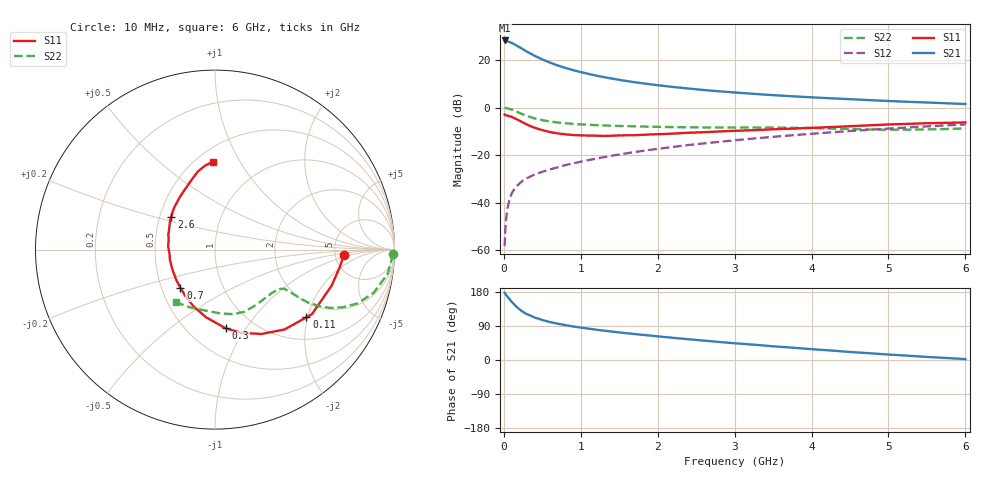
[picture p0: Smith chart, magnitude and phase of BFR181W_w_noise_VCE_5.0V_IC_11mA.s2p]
! Infineon Technologies  Discrete & RF Semiconductors
! BFR181W
! VCE =  5.0 V,  IC =  11 mA
! Common Emitter S-Parameters:  Jan 2017
# GHz  S  MA  R  50
!  f  S11  S21  S12  S22
! GHz  MAG  ANG  MAG  ANG  MAG  ANG  MAG  ANG
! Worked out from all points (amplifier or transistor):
!   77 points, 10 MHz to 6 GHz, reference 50 ohm
!   highest |S21| = 28.4 dB at 10 MHz (marker M1)
!   |S21| within 3 dB of that: start of sweep to 210.2 MHz
!   unconditionally stable (mu >= 1): 961.3 MHz to 2.922 GHz
!   at 130 MHz: K = 0.29, MSG = 30.8 dB, |S12| = -34.7 dB
!   at 2.2 GHz: K = 1.05, MAG = 11.3 dB, |S12| = -16.5 dB
!   at 6 GHz: K = 0.85, MSG = 4.3 dB, |S12| = -7.0 dB
!   lowest NFmin = 1.29 dB at 450 MHz
!   S11 on the Smith chart (normalised r, x): 10 MHz: 5.99, -0.81; 110 MHz: 1.56, -1.97; 300 MHz: 0.75, -0.82; 700 MHz: 0.62, -0.29; 2.6 GHz: 0.57, +0.23; 6 GHz: 0.60, +0.78
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0.01  0.7182 -2.6  26.26 177.6  0.0012 95.0  0.9918 -1.5
0.02  0.7014 -8.2  25.77 174.2  0.0028 90.4  0.9861 -3.0
0.05  0.6799 -17.3  25.22 166.4  0.0079 85.8  0.9714 -8.0
0.1  0.6488 -33.7  23.41 153.8  0.0152 75.3  0.9164 -15.2
0.11  0.6338 -36.5  22.93 151.9  0.0163 73.8  0.9023 -16.2
0.15  0.5905 -48.9  21.3 143.3  0.0208 69.4  0.8489 -20.7
0.2  0.5368 -61.1  19.01 134.2  0.0248 67.2  0.7807 -24.3
0.25  0.4868 -72.4  17.03 126.9  0.0293 64.7  0.7214 -26.8
0.3  0.4428 -82.2  15.22 121.0  0.0326 62.9  0.6698 -28.3
0.4  0.3799 -97.7  12.48 112.0  0.0389 62.1  0.596 -29.6
0.5  0.337 -111.0  10.42 105.5  0.0445 62.5  0.5464 -29.8
0.6  0.3068 -122.6  8.947 100.2  0.05 62.8  0.5121 -29.6
0.7  0.2874 -132.1  7.801 95.8  0.0553 64.3  0.4876 -29.4
0.9  0.2655 -149.0  6.212 88.5  0.0666 65.9  0.4566 -29.5
1.1  0.2583 -162.3  5.17 82.8  0.0787 67.1  0.4374 -30.0
1.5  0.2608 177.0  3.875 72.9  0.1028 68.1  0.4123 -32.9
2.1  0.2799 155.9  2.862 60.5  0.1423 67.3  0.3924 -40.9
2.6  0.3042 143.1  2.366 51.1  0.1766 65.6  0.3846 -49.6
3.1  0.3296 132.4  2.041 42.7  0.2129 63.0  0.382 -58.4
4.1  0.3817 114.7  1.627 27.2  0.29 56.3  0.3692 -76.4
5.1  0.4488 101.5  1.366 13.2  0.3707 48.0  0.3435 -101.8
6  0.4904 91.1  1.198 2.4  0.445 39.6  0.3653 -126.7
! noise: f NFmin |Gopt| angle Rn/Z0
0.45  1.29  0.12  17  0.21
0.9  1.33  0.12  31  0.21
1.9  1.76  0.04  -171  0.2
2.4  1.95  0.05  -122  0.25
